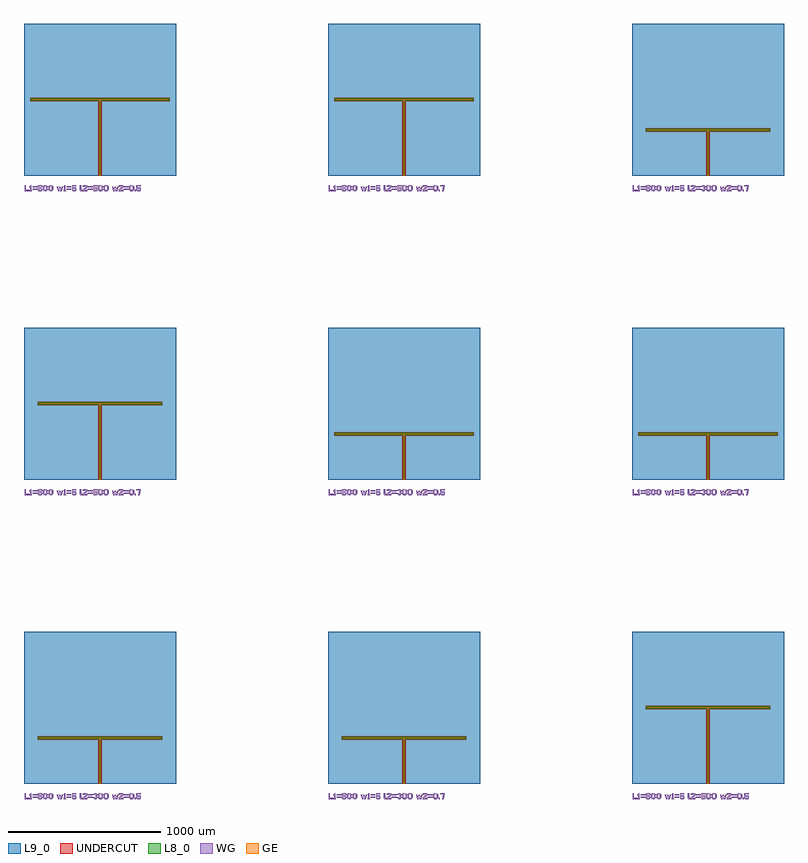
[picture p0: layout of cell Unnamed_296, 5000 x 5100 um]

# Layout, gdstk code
import gdstk
lib = gdstk.Library(unit=1e-6, precision=1e-09)
def R(c, l, rs):  # rectangles x0, y0, x1, y1
    for r in rs: c.add(gdstk.rectangle(r[:2], r[2:], *l))
def P(c, l, *ps):  # polygons
    for p in ps: c.add(gdstk.Polygon(p, *l))
WG = (1, 0)
GE = (5, 0)
UNDERCUT = (6, 0)
L8_0 = (8, 0)
L9_0 = (9, 0)

text_tl1900_w15_l2500_w_ = lib.new_cell('text_TL1900_w15_l2500_w_924e79f2')
R(text_tl1900_w15_l2500_w_, WG, [(728,0,736,8), (56,8,88,16), (280,8,312,16), (420,8,452,16), (656,8,688,16), (56,24,88,32), (280,24,312,32), (420,24,452,32), (656,24,688,32)])
P(text_tl1900_w15_l2500_w_, WG, [(752,0),(758.4,32),(740,32),(740,40),(768,40),(760,0)],
  [(372,0),(368,4),(368,40),(376,40),(376,8),(384,8),(384,0)],
  [(320,0),(316,4),(316,12),(324,12),(324,8),(336,8),(336,16),(320,16),(316,20),(316,40),(344,40),(344,32),(324,32),(324,24),(340,24),(344,20),(344,4),(340,0)],
  [(460,0),(456,4),(456,12),(464,12),(464,8),(476,8),(476,16),(460,16),(456,20),(456,40),(484,40),(484,32),(464,32),(464,24),(480,24),(484,20),(484,4),(480,0)],
  [(4,0),(4,40),(12,40),(12,8),(32,8),(32,0)],
  [(224,0),(216,28),(224,28),(228,14),(232,28),(240,28),(244,14),(248,28),(256,28),(248,0),(240,0),(236,14),(232,0)],
  [(588,0),(580,28),(588,28),(592,14),(596,28),(604,28),(608,14),(612,28),(620,28),(612,0),(604,0),(600,14),(596,0)],
  [(138.8,0),(140.8,8),(144,8),(148,12),(148,28),(144,32),(146,40),(148,40),(156,32),(156,8),(148,0)],
  [(174.8,0),(176.8,8),(180,8),(184,12),(184,28),(180,32),(182,40),(184,40),(192,32),(192,8),(184,0)],
  [(502.8,0),(504.8,8),(508,8),(512,12),(512,28),(508,32),(510,40),(512,40),(520,32),(520,8),(512,0)],
  [(538.8,0),(540.8,8),(544,8),(548,12),(548,28),(544,32),(546,40),(548,40),(556,32),(556,8),(548,0)],
  [(706.8,0),(708.8,8),(712,8),(716,12),(716,28),(712,32),(714,40),(716,40),(724,32),(724,8),(716,0)],
  [(132,0),(124,8),(124,32),(132,40),(141.2,40),(139.2,32),(136,32),(132,28),(132,12),(136,8),(134,0)],
  [(168,0),(160,8),(160,32),(168,40),(177.2,40),(175.2,32),(172,32),(168,28),(168,12),(172,8),(170,0)],
  [(496,0),(488,8),(488,32),(496,40),(505.2,40),(503.2,32),(500,32),(496,28),(496,12),(500,8),(498,0)],
  [(532,0),(524,8),(524,32),(532,40),(541.2,40),(539.2,32),(536,32),(532,28),(532,12),(536,8),(534,0)],
  [(700,0),(692,8),(692,32),(700,40),(709.2,40),(707.2,32),(704,32),(700,28),(700,12),(704,8),(702,0)],
  [(96,0),(92,4),(92,12),(100,12),(100,8),(112,8),(112,16),(96,16),(92,20),(92,36),(96,40),(104,40),(104,32),(100,32),(100,24),(112,24),(112,32),(108,32),(108,40),(116,40),(120,36),(120,4),(116,0)],
  [(36,0),(36,8),(40,8),(40,24),(36,24),(36,32),(44,40),(48,40),(48,8),(52,8),(52,0)],
  [(260,0),(260,8),(264,8),(264,24),(260,24),(260,32),(268,40),(272,40),(272,8),(276,8),(276,0)],
  [(388,0),(388,8),(408,28),(408,32),(396,32),(396,28),(388,28),(388,36),(392,40),(412,40),(416,36),(416,24),(400,8),(416,8),(416,0)],
  [(624,0),(624,8),(644,28),(644,32),(632,32),(632,28),(624,28),(624,36),(628,40),(648,40),(652,36),(652,24),(636,8),(652,8),(652,0)])

rectangle_s920_25_l6_0__ = lib.new_cell('rectangle_S920_25_L6_0__c2643c97')
R(rectangle_s920_25_l6_0__, UNDERCUT, [(0,0,920,25)])

rectangle_s0p7_500_l5_0_ = lib.new_cell('rectangle_S0p7_500_L5_0_5f5ccab6')
R(rectangle_s0p7_500_l5_0_, GE, [(0,0,0.7,500)])

rectangle_s20p7_490_l6__ = lib.new_cell('rectangle_S20p7_490_L6__c76dff1f')
R(rectangle_s20p7_490_l6__, UNDERCUT, [(0,0,20.7,490)])

rectangle_s900_5_l5_0_c_ = lib.new_cell('rectangle_S900_5_L5_0_C_e98a737c')
R(rectangle_s900_5_l5_0_c_, GE, [(0,0,900,5)])

rectangle_s910_15_l8_0__ = lib.new_cell('rectangle_S910_15_L8_0__1d112a65')
R(rectangle_s910_15_l8_0__, L8_0, [(0,0,910,15)])

rectangle_s10p7_495_l8__ = lib.new_cell('rectangle_S10p7_495_L8__2b4584b7')
R(rectangle_s10p7_495_l8__, L8_0, [(0,0,10.7,495)])

unnamed_294 = lib.new_cell('Unnamed_294')
unnamed_294.add(gdstk.Reference(rectangle_s920_25_l6_0__, (-460,490)))
unnamed_294.add(gdstk.Reference(rectangle_s0p7_500_l5_0_, (-0.35,0)))
unnamed_294.add(gdstk.Reference(rectangle_s20p7_490_l6__, (-10.35,0)))
unnamed_294.add(gdstk.Reference(rectangle_s900_5_l5_0_c_, (-450,500)))
unnamed_294.add(gdstk.Reference(rectangle_s910_15_l8_0__, (-455,495)))
unnamed_294.add(gdstk.Reference(rectangle_s10p7_495_l8__, (-5.35,0)))

c_text_tl1900_w15_l2500_w_ = lib.new_cell('text_TL1900_w15_l2500_w_5df65d30')
R(c_text_tl1900_w15_l2500_w_, WG, [(728,0,736,8), (56,8,88,16), (280,8,312,16), (420,8,452,16), (656,8,688,16), (56,24,88,32), (280,24,312,32), (420,24,452,32), (656,24,688,32)])
P(c_text_tl1900_w15_l2500_w_, WG, [(372,0),(368,4),(368,40),(376,40),(376,8),(384,8),(384,0)],
  [(320,0),(316,4),(316,12),(324,12),(324,8),(336,8),(336,16),(320,16),(316,20),(316,40),(344,40),(344,32),(324,32),(324,24),(340,24),(344,20),(344,4),(340,0)],
  [(460,0),(456,4),(456,12),(464,12),(464,8),(476,8),(476,16),(460,16),(456,20),(456,40),(484,40),(484,32),(464,32),(464,24),(480,24),(484,20),(484,4),(480,0)],
  [(744,0),(740,4),(740,12),(748,12),(748,8),(760,8),(760,16),(744,16),(740,20),(740,40),(768,40),(768,32),(748,32),(748,24),(764,24),(768,20),(768,4),(764,0)],
  [(138.8,0),(140.8,8),(144,8),(148,12),(148,28),(144,32),(146,40),(148,40),(156,32),(156,8),(148,0)],
  [(174.8,0),(176.8,8),(180,8),(184,12),(184,28),(180,32),(182,40),(184,40),(192,32),(192,8),(184,0)],
  [(502.8,0),(504.8,8),(508,8),(512,12),(512,28),(508,32),(510,40),(512,40),(520,32),(520,8),(512,0)],
  [(538.8,0),(540.8,8),(544,8),(548,12),(548,28),(544,32),(546,40),(548,40),(556,32),(556,8),(548,0)],
  [(706.8,0),(708.8,8),(712,8),(716,12),(716,28),(712,32),(714,40),(716,40),(724,32),(724,8),(716,0)],
  [(132,0),(124,8),(124,32),(132,40),(141.2,40),(139.2,32),(136,32),(132,28),(132,12),(136,8),(134,0)],
  [(168,0),(160,8),(160,32),(168,40),(177.2,40),(175.2,32),(172,32),(168,28),(168,12),(172,8),(170,0)],
  [(496,0),(488,8),(488,32),(496,40),(505.2,40),(503.2,32),(500,32),(496,28),(496,12),(500,8),(498,0)],
  [(532,0),(524,8),(524,32),(532,40),(541.2,40),(539.2,32),(536,32),(532,28),(532,12),(536,8),(534,0)],
  [(700,0),(692,8),(692,32),(700,40),(709.2,40),(707.2,32),(704,32),(700,28),(700,12),(704,8),(702,0)],
  [(96,0),(92,4),(92,12),(100,12),(100,8),(112,8),(112,16),(96,16),(92,20),(92,36),(96,40),(104,40),(104,32),(100,32),(100,24),(112,24),(112,32),(108,32),(108,40),(116,40),(120,36),(120,4),(116,0)],
  [(224,0),(216,28),(224,28),(228,14),(232,28),(240,28),(244,14),(248,28),(256,28),(248,0),(240,0),(236,14),(232,0)],
  [(588,0),(580,28),(588,28),(592,14),(596,28),(604,28),(608,14),(612,28),(620,28),(612,0),(604,0),(600,14),(596,0)],
  [(36,0),(36,8),(40,8),(40,24),(36,24),(36,32),(44,40),(48,40),(48,8),(52,8),(52,0)],
  [(260,0),(260,8),(264,8),(264,24),(260,24),(260,32),(268,40),(272,40),(272,8),(276,8),(276,0)],
  [(388,0),(388,8),(408,28),(408,32),(396,32),(396,28),(388,28),(388,36),(392,40),(412,40),(416,36),(416,24),(400,8),(416,8),(416,0)],
  [(624,0),(624,8),(644,28),(644,32),(632,32),(632,28),(624,28),(624,36),(628,40),(648,40),(652,36),(652,24),(636,8),(652,8),(652,0)],
  [(4,0),(4,40),(12,40),(12,8),(32,8),(32,0)])

text_tl1900_w15_l2300_w_ = lib.new_cell('text_TL1900_w15_l2300_w_3a80fd20')
R(text_tl1900_w15_l2300_w_, WG, [(728,0,736,8), (56,8,88,16), (280,8,312,16), (420,8,452,16), (656,8,688,16), (56,24,88,32), (280,24,312,32), (420,24,452,32), (656,24,688,32)])
P(text_tl1900_w15_l2300_w_, WG, [(752,0),(758.4,32),(740,32),(740,40),(768,40),(760,0)],
  [(464,0),(456,8),(456,12),(464,12),(468,8),(472,8),(476,12),(472,16),(472,24),(476,28),(472,32),(468,32),(464,28),(456,28),(456,32),(464,40),(476,40),(484,32),(484,24),(480,20),(484,16),(484,8),(476,0)],
  [(372,0),(368,4),(368,40),(376,40),(376,8),(384,8),(384,0)],
  [(320,0),(316,4),(316,12),(324,12),(324,8),(336,8),(336,16),(320,16),(316,20),(316,40),(344,40),(344,32),(324,32),(324,24),(340,24),(344,20),(344,4),(340,0)],
  [(4,0),(4,40),(12,40),(12,8),(32,8),(32,0)],
  [(224,0),(216,28),(224,28),(228,14),(232,28),(240,28),(244,14),(248,28),(256,28),(248,0),(240,0),(236,14),(232,0)],
  [(588,0),(580,28),(588,28),(592,14),(596,28),(604,28),(608,14),(612,28),(620,28),(612,0),(604,0),(600,14),(596,0)],
  [(138.8,0),(140.8,8),(144,8),(148,12),(148,28),(144,32),(146,40),(148,40),(156,32),(156,8),(148,0)],
  [(174.8,0),(176.8,8),(180,8),(184,12),(184,28),(180,32),(182,40),(184,40),(192,32),(192,8),(184,0)],
  [(502.8,0),(504.8,8),(508,8),(512,12),(512,28),(508,32),(510,40),(512,40),(520,32),(520,8),(512,0)],
  [(538.8,0),(540.8,8),(544,8),(548,12),(548,28),(544,32),(546,40),(548,40),(556,32),(556,8),(548,0)],
  [(706.8,0),(708.8,8),(712,8),(716,12),(716,28),(712,32),(714,40),(716,40),(724,32),(724,8),(716,0)],
  [(132,0),(124,8),(124,32),(132,40),(141.2,40),(139.2,32),(136,32),(132,28),(132,12),(136,8),(134,0)],
  [(168,0),(160,8),(160,32),(168,40),(177.2,40),(175.2,32),(172,32),(168,28),(168,12),(172,8),(170,0)],
  [(496,0),(488,8),(488,32),(496,40),(505.2,40),(503.2,32),(500,32),(496,28),(496,12),(500,8),(498,0)],
  [(532,0),(524,8),(524,32),(532,40),(541.2,40),(539.2,32),(536,32),(532,28),(532,12),(536,8),(534,0)],
  [(700,0),(692,8),(692,32),(700,40),(709.2,40),(707.2,32),(704,32),(700,28),(700,12),(704,8),(702,0)],
  [(96,0),(92,4),(92,12),(100,12),(100,8),(112,8),(112,16),(96,16),(92,20),(92,36),(96,40),(104,40),(104,32),(100,32),(100,24),(112,24),(112,32),(108,32),(108,40),(116,40),(120,36),(120,4),(116,0)],
  [(36,0),(36,8),(40,8),(40,24),(36,24),(36,32),(44,40),(48,40),(48,8),(52,8),(52,0)],
  [(260,0),(260,8),(264,8),(264,24),(260,24),(260,32),(268,40),(272,40),(272,8),(276,8),(276,0)],
  [(388,0),(388,8),(408,28),(408,32),(396,32),(396,28),(388,28),(388,36),(392,40),(412,40),(416,36),(416,24),(400,8),(416,8),(416,0)],
  [(624,0),(624,8),(644,28),(644,32),(632,32),(632,28),(624,28),(624,36),(628,40),(648,40),(652,36),(652,24),(636,8),(652,8),(652,0)])

rectangle_s0p7_300_l5_0_ = lib.new_cell('rectangle_S0p7_300_L5_0_106584ea')
R(rectangle_s0p7_300_l5_0_, GE, [(0,0,0.7,300)])

rectangle_s20p7_290_l6__ = lib.new_cell('rectangle_S20p7_290_L6__7863e632')
R(rectangle_s20p7_290_l6__, UNDERCUT, [(0,0,20.7,290)])

rectangle_s10p7_295_l8__ = lib.new_cell('rectangle_S10p7_295_L8__5a437f7c')
R(rectangle_s10p7_295_l8__, L8_0, [(0,0,10.7,295)])

unnamed_292 = lib.new_cell('Unnamed_292')
unnamed_292.add(gdstk.Reference(rectangle_s910_15_l8_0__, (-455,295)))
unnamed_292.add(gdstk.Reference(rectangle_s0p7_300_l5_0_, (-0.35,0)))
unnamed_292.add(gdstk.Reference(rectangle_s20p7_290_l6__, (-10.35,0)))
unnamed_292.add(gdstk.Reference(rectangle_s900_5_l5_0_c_, (-450,300)))
unnamed_292.add(gdstk.Reference(rectangle_s10p7_295_l8__, (-5.35,0)))
unnamed_292.add(gdstk.Reference(rectangle_s920_25_l6_0__, (-460,290)))

text_tl1800_w15_l2500_w_ = lib.new_cell('text_TL1800_w15_l2500_w_88558957')
R(text_tl1800_w15_l2500_w_, WG, [(728,0,736,8), (56,8,88,16), (280,8,312,16), (420,8,452,16), (656,8,688,16), (56,24,88,32), (280,24,312,32), (420,24,452,32), (656,24,688,32)])
P(text_tl1800_w15_l2500_w_, WG, [(372,0),(368,4),(368,40),(376,40),(376,8),(384,8),(384,0)],
  [(320,0),(316,4),(316,12),(324,12),(324,8),(336,8),(336,16),(320,16),(316,20),(316,40),(344,40),(344,32),(324,32),(324,24),(340,24),(344,20),(344,4),(340,0)],
  [(460,0),(456,4),(456,12),(464,12),(464,8),(476,8),(476,16),(460,16),(456,20),(456,40),(484,40),(484,32),(464,32),(464,24),(480,24),(484,20),(484,4),(480,0)],
  [(744,0),(740,4),(740,12),(748,12),(748,8),(760,8),(760,16),(744,16),(740,20),(740,40),(768,40),(768,32),(748,32),(748,24),(764,24),(768,20),(768,4),(764,0)],
  [(138.8,0),(140.8,8),(144,8),(148,12),(148,28),(144,32),(146,40),(148,40),(156,32),(156,8),(148,0)],
  [(174.8,0),(176.8,8),(180,8),(184,12),(184,28),(180,32),(182,40),(184,40),(192,32),(192,8),(184,0)],
  [(502.8,0),(504.8,8),(508,8),(512,12),(512,28),(508,32),(510,40),(512,40),(520,32),(520,8),(512,0)],
  [(538.8,0),(540.8,8),(544,8),(548,12),(548,28),(544,32),(546,40),(548,40),(556,32),(556,8),(548,0)],
  [(706.8,0),(708.8,8),(712,8),(716,12),(716,28),(712,32),(714,40),(716,40),(724,32),(724,8),(716,0)],
  [(132,0),(124,8),(124,32),(132,40),(141.2,40),(139.2,32),(136,32),(132,28),(132,12),(136,8),(134,0)],
  [(168,0),(160,8),(160,32),(168,40),(177.2,40),(175.2,32),(172,32),(168,28),(168,12),(172,8),(170,0)],
  [(496,0),(488,8),(488,32),(496,40),(505.2,40),(503.2,32),(500,32),(496,28),(496,12),(500,8),(498,0)],
  [(532,0),(524,8),(524,32),(532,40),(541.2,40),(539.2,32),(536,32),(532,28),(532,12),(536,8),(534,0)],
  [(700,0),(692,8),(692,32),(700,40),(709.2,40),(707.2,32),(704,32),(700,28),(700,12),(704,8),(702,0)],
  [(96,0),(92,4),(92,16),(96,20),(92,24),(92,36),(96,40),(104,40),(104,32),(100,32),(100,24),(112,24),(112,32),(108,32),(108,40),(116,40),(120,36),(120,24),(116,20),(120,16),(120,4),(116,0),(108,0),(108,8),(112,8),(112,16),(100,16),(100,8),(104,8),(104,0)],
  [(224,0),(216,28),(224,28),(228,14),(232,28),(240,28),(244,14),(248,28),(256,28),(248,0),(240,0),(236,14),(232,0)],
  [(588,0),(580,28),(588,28),(592,14),(596,28),(604,28),(608,14),(612,28),(620,28),(612,0),(604,0),(600,14),(596,0)],
  [(36,0),(36,8),(40,8),(40,24),(36,24),(36,32),(44,40),(48,40),(48,8),(52,8),(52,0)],
  [(260,0),(260,8),(264,8),(264,24),(260,24),(260,32),(268,40),(272,40),(272,8),(276,8),(276,0)],
  [(388,0),(388,8),(408,28),(408,32),(396,32),(396,28),(388,28),(388,36),(392,40),(412,40),(416,36),(416,24),(400,8),(416,8),(416,0)],
  [(624,0),(624,8),(644,28),(644,32),(632,32),(632,28),(624,28),(624,36),(628,40),(648,40),(652,36),(652,24),(636,8),(652,8),(652,0)],
  [(4,0),(4,40),(12,40),(12,8),(32,8),(32,0)])

rectangle_s10p5_295_l8__ = lib.new_cell('rectangle_S10p5_295_L8__ffa8a64a')
R(rectangle_s10p5_295_l8__, L8_0, [(0,0,10.5,295)])

rectangle_s0p5_300_l5_0_ = lib.new_cell('rectangle_S0p5_300_L5_0_bcf38b65')
R(rectangle_s0p5_300_l5_0_, GE, [(0,0,0.5,300)])

rectangle_s20p5_290_l6__ = lib.new_cell('rectangle_S20p5_290_L6__af2a2720')
R(rectangle_s20p5_290_l6__, UNDERCUT, [(0,0,20.5,290)])

unnamed_291 = lib.new_cell('Unnamed_291')
unnamed_291.add(gdstk.Reference(rectangle_s910_15_l8_0__, (-455,295)))
unnamed_291.add(gdstk.Reference(rectangle_s10p5_295_l8__, (-5.25,0)))
unnamed_291.add(gdstk.Reference(rectangle_s920_25_l6_0__, (-460,290)))
unnamed_291.add(gdstk.Reference(rectangle_s0p5_300_l5_0_, (-0.25,0)))
unnamed_291.add(gdstk.Reference(rectangle_s900_5_l5_0_c_, (-450,300)))
unnamed_291.add(gdstk.Reference(rectangle_s20p5_290_l6__, (-10.25,0)))

rectangle_s10p5_495_l8__ = lib.new_cell('rectangle_S10p5_495_L8__a2ef8117')
R(rectangle_s10p5_495_l8__, L8_0, [(0,0,10.5,495)])

rectangle_s20p5_490_l6__ = lib.new_cell('rectangle_S20p5_490_L6__59c9b7bc')
R(rectangle_s20p5_490_l6__, UNDERCUT, [(0,0,20.5,490)])

rectangle_s0p5_500_l5_0_ = lib.new_cell('rectangle_S0p5_500_L5_0_ba7ba93c')
R(rectangle_s0p5_500_l5_0_, GE, [(0,0,0.5,500)])

unnamed_293 = lib.new_cell('Unnamed_293')
unnamed_293.add(gdstk.Reference(rectangle_s910_15_l8_0__, (-455,495)))
unnamed_293.add(gdstk.Reference(rectangle_s10p5_495_l8__, (-5.25,0)))
unnamed_293.add(gdstk.Reference(rectangle_s920_25_l6_0__, (-460,490)))
unnamed_293.add(gdstk.Reference(rectangle_s20p5_490_l6__, (-10.25,0)))
unnamed_293.add(gdstk.Reference(rectangle_s900_5_l5_0_c_, (-450,500)))
unnamed_293.add(gdstk.Reference(rectangle_s0p5_500_l5_0_, (-0.25,0)))

c_text_tl1800_w15_l2500_w_ = lib.new_cell('text_TL1800_w15_l2500_w_d564201c')
R(c_text_tl1800_w15_l2500_w_, WG, [(728,0,736,8), (56,8,88,16), (280,8,312,16), (420,8,452,16), (656,8,688,16), (56,24,88,32), (280,24,312,32), (420,24,452,32), (656,24,688,32)])
P(c_text_tl1800_w15_l2500_w_, WG, [(752,0),(758.4,32),(740,32),(740,40),(768,40),(760,0)],
  [(372,0),(368,4),(368,40),(376,40),(376,8),(384,8),(384,0)],
  [(320,0),(316,4),(316,12),(324,12),(324,8),(336,8),(336,16),(320,16),(316,20),(316,40),(344,40),(344,32),(324,32),(324,24),(340,24),(344,20),(344,4),(340,0)],
  [(460,0),(456,4),(456,12),(464,12),(464,8),(476,8),(476,16),(460,16),(456,20),(456,40),(484,40),(484,32),(464,32),(464,24),(480,24),(484,20),(484,4),(480,0)],
  [(4,0),(4,40),(12,40),(12,8),(32,8),(32,0)],
  [(224,0),(216,28),(224,28),(228,14),(232,28),(240,28),(244,14),(248,28),(256,28),(248,0),(240,0),(236,14),(232,0)],
  [(588,0),(580,28),(588,28),(592,14),(596,28),(604,28),(608,14),(612,28),(620,28),(612,0),(604,0),(600,14),(596,0)],
  [(138.8,0),(140.8,8),(144,8),(148,12),(148,28),(144,32),(146,40),(148,40),(156,32),(156,8),(148,0)],
  [(174.8,0),(176.8,8),(180,8),(184,12),(184,28),(180,32),(182,40),(184,40),(192,32),(192,8),(184,0)],
  [(502.8,0),(504.8,8),(508,8),(512,12),(512,28),(508,32),(510,40),(512,40),(520,32),(520,8),(512,0)],
  [(538.8,0),(540.8,8),(544,8),(548,12),(548,28),(544,32),(546,40),(548,40),(556,32),(556,8),(548,0)],
  [(706.8,0),(708.8,8),(712,8),(716,12),(716,28),(712,32),(714,40),(716,40),(724,32),(724,8),(716,0)],
  [(132,0),(124,8),(124,32),(132,40),(141.2,40),(139.2,32),(136,32),(132,28),(132,12),(136,8),(134,0)],
  [(168,0),(160,8),(160,32),(168,40),(177.2,40),(175.2,32),(172,32),(168,28),(168,12),(172,8),(170,0)],
  [(496,0),(488,8),(488,32),(496,40),(505.2,40),(503.2,32),(500,32),(496,28),(496,12),(500,8),(498,0)],
  [(532,0),(524,8),(524,32),(532,40),(541.2,40),(539.2,32),(536,32),(532,28),(532,12),(536,8),(534,0)],
  [(700,0),(692,8),(692,32),(700,40),(709.2,40),(707.2,32),(704,32),(700,28),(700,12),(704,8),(702,0)],
  [(96,0),(92,4),(92,16),(96,20),(92,24),(92,36),(96,40),(104,40),(104,32),(100,32),(100,24),(112,24),(112,32),(108,32),(108,40),(116,40),(120,36),(120,24),(116,20),(120,16),(120,4),(116,0),(108,0),(108,8),(112,8),(112,16),(100,16),(100,8),(104,8),(104,0)],
  [(36,0),(36,8),(40,8),(40,24),(36,24),(36,32),(44,40),(48,40),(48,8),(52,8),(52,0)],
  [(260,0),(260,8),(264,8),(264,24),(260,24),(260,32),(268,40),(272,40),(272,8),(276,8),(276,0)],
  [(388,0),(388,8),(408,28),(408,32),(396,32),(396,28),(388,28),(388,36),(392,40),(412,40),(416,36),(416,24),(400,8),(416,8),(416,0)],
  [(624,0),(624,8),(644,28),(644,32),(632,32),(632,28),(624,28),(624,36),(628,40),(648,40),(652,36),(652,24),(636,8),(652,8),(652,0)])

rectangle_s810_15_l8_0__ = lib.new_cell('rectangle_S810_15_L8_0__172e18ab')
R(rectangle_s810_15_l8_0__, L8_0, [(0,0,810,15)])

rectangle_s800_5_l5_0_c_ = lib.new_cell('rectangle_S800_5_L5_0_C_a89d6687')
R(rectangle_s800_5_l5_0_c_, GE, [(0,0,800,5)])

rectangle_s820_25_l6_0__ = lib.new_cell('rectangle_S820_25_L6_0__958177c4')
R(rectangle_s820_25_l6_0__, UNDERCUT, [(0,0,820,25)])

unnamed_290 = lib.new_cell('Unnamed_290')
unnamed_290.add(gdstk.Reference(rectangle_s810_15_l8_0__, (-405,495)))
unnamed_290.add(gdstk.Reference(rectangle_s800_5_l5_0_c_, (-400,500)))
unnamed_290.add(gdstk.Reference(rectangle_s820_25_l6_0__, (-410,490)))
unnamed_290.add(gdstk.Reference(rectangle_s0p7_500_l5_0_, (-0.35,0)))
unnamed_290.add(gdstk.Reference(rectangle_s20p7_490_l6__, (-10.35,0)))
unnamed_290.add(gdstk.Reference(rectangle_s10p7_495_l8__, (-5.35,0)))

rectangle_s1000_1000_l9_ = lib.new_cell('rectangle_S1000_1000_L9_afc64d79')
R(rectangle_s1000_1000_l9_, L9_0, [(0,0,1000,1000)])

unnamed_289 = lib.new_cell('Unnamed_289')
unnamed_289.add(gdstk.Reference(rectangle_s810_15_l8_0__, (-405,495)))
unnamed_289.add(gdstk.Reference(rectangle_s10p5_495_l8__, (-5.25,0)))
unnamed_289.add(gdstk.Reference(rectangle_s800_5_l5_0_c_, (-400,500)))
unnamed_289.add(gdstk.Reference(rectangle_s820_25_l6_0__, (-410,490)))
unnamed_289.add(gdstk.Reference(rectangle_s20p5_490_l6__, (-10.25,0)))
unnamed_289.add(gdstk.Reference(rectangle_s0p5_500_l5_0_, (-0.25,0)))

text_tl1800_w15_l2300_w_ = lib.new_cell('text_TL1800_w15_l2300_w_28ce9629')
R(text_tl1800_w15_l2300_w_, WG, [(728,0,736,8), (56,8,88,16), (280,8,312,16), (420,8,452,16), (656,8,688,16), (56,24,88,32), (280,24,312,32), (420,24,452,32), (656,24,688,32)])
P(text_tl1800_w15_l2300_w_, WG, [(752,0),(758.4,32),(740,32),(740,40),(768,40),(760,0)],
  [(464,0),(456,8),(456,12),(464,12),(468,8),(472,8),(476,12),(472,16),(472,24),(476,28),(472,32),(468,32),(464,28),(456,28),(456,32),(464,40),(476,40),(484,32),(484,24),(480,20),(484,16),(484,8),(476,0)],
  [(372,0),(368,4),(368,40),(376,40),(376,8),(384,8),(384,0)],
  [(320,0),(316,4),(316,12),(324,12),(324,8),(336,8),(336,16),(320,16),(316,20),(316,40),(344,40),(344,32),(324,32),(324,24),(340,24),(344,20),(344,4),(340,0)],
  [(4,0),(4,40),(12,40),(12,8),(32,8),(32,0)],
  [(224,0),(216,28),(224,28),(228,14),(232,28),(240,28),(244,14),(248,28),(256,28),(248,0),(240,0),(236,14),(232,0)],
  [(588,0),(580,28),(588,28),(592,14),(596,28),(604,28),(608,14),(612,28),(620,28),(612,0),(604,0),(600,14),(596,0)],
  [(138.8,0),(140.8,8),(144,8),(148,12),(148,28),(144,32),(146,40),(148,40),(156,32),(156,8),(148,0)],
  [(174.8,0),(176.8,8),(180,8),(184,12),(184,28),(180,32),(182,40),(184,40),(192,32),(192,8),(184,0)],
  [(502.8,0),(504.8,8),(508,8),(512,12),(512,28),(508,32),(510,40),(512,40),(520,32),(520,8),(512,0)],
  [(538.8,0),(540.8,8),(544,8),(548,12),(548,28),(544,32),(546,40),(548,40),(556,32),(556,8),(548,0)],
  [(706.8,0),(708.8,8),(712,8),(716,12),(716,28),(712,32),(714,40),(716,40),(724,32),(724,8),(716,0)],
  [(132,0),(124,8),(124,32),(132,40),(141.2,40),(139.2,32),(136,32),(132,28),(132,12),(136,8),(134,0)],
  [(168,0),(160,8),(160,32),(168,40),(177.2,40),(175.2,32),(172,32),(168,28),(168,12),(172,8),(170,0)],
  [(496,0),(488,8),(488,32),(496,40),(505.2,40),(503.2,32),(500,32),(496,28),(496,12),(500,8),(498,0)],
  [(532,0),(524,8),(524,32),(532,40),(541.2,40),(539.2,32),(536,32),(532,28),(532,12),(536,8),(534,0)],
  [(700,0),(692,8),(692,32),(700,40),(709.2,40),(707.2,32),(704,32),(700,28),(700,12),(704,8),(702,0)],
  [(96,0),(92,4),(92,16),(96,20),(92,24),(92,36),(96,40),(104,40),(104,32),(100,32),(100,24),(112,24),(112,32),(108,32),(108,40),(116,40),(120,36),(120,24),(116,20),(120,16),(120,4),(116,0),(108,0),(108,8),(112,8),(112,16),(100,16),(100,8),(104,8),(104,0)],
  [(36,0),(36,8),(40,8),(40,24),(36,24),(36,32),(44,40),(48,40),(48,8),(52,8),(52,0)],
  [(260,0),(260,8),(264,8),(264,24),(260,24),(260,32),(268,40),(272,40),(272,8),(276,8),(276,0)],
  [(388,0),(388,8),(408,28),(408,32),(396,32),(396,28),(388,28),(388,36),(392,40),(412,40),(416,36),(416,24),(400,8),(416,8),(416,0)],
  [(624,0),(624,8),(644,28),(644,32),(632,32),(632,28),(624,28),(624,36),(628,40),(648,40),(652,36),(652,24),(636,8),(652,8),(652,0)])

unnamed_288 = lib.new_cell('Unnamed_288')
unnamed_288.add(gdstk.Reference(rectangle_s0p7_300_l5_0_, (-0.35,0)))
unnamed_288.add(gdstk.Reference(rectangle_s800_5_l5_0_c_, (-400,300)))
unnamed_288.add(gdstk.Reference(rectangle_s820_25_l6_0__, (-410,290)))
unnamed_288.add(gdstk.Reference(rectangle_s20p7_290_l6__, (-10.35,0)))
unnamed_288.add(gdstk.Reference(rectangle_s810_15_l8_0__, (-405,295)))
unnamed_288.add(gdstk.Reference(rectangle_s10p7_295_l8__, (-5.35,0)))

c_text_tl1800_w15_l2300_w_ = lib.new_cell('text_TL1800_w15_l2300_w_6238760a')
R(c_text_tl1800_w15_l2300_w_, WG, [(728,0,736,8), (56,8,88,16), (280,8,312,16), (420,8,452,16), (656,8,688,16), (56,24,88,32), (280,24,312,32), (420,24,452,32), (656,24,688,32)])
P(c_text_tl1800_w15_l2300_w_, WG, [(464,0),(456,8),(456,12),(464,12),(468,8),(472,8),(476,12),(472,16),(472,24),(476,28),(472,32),(468,32),(464,28),(456,28),(456,32),(464,40),(476,40),(484,32),(484,24),(480,20),(484,16),(484,8),(476,0)],
  [(372,0),(368,4),(368,40),(376,40),(376,8),(384,8),(384,0)],
  [(320,0),(316,4),(316,12),(324,12),(324,8),(336,8),(336,16),(320,16),(316,20),(316,40),(344,40),(344,32),(324,32),(324,24),(340,24),(344,20),(344,4),(340,0)],
  [(744,0),(740,4),(740,12),(748,12),(748,8),(760,8),(760,16),(744,16),(740,20),(740,40),(768,40),(768,32),(748,32),(748,24),(764,24),(768,20),(768,4),(764,0)],
  [(4,0),(4,40),(12,40),(12,8),(32,8),(32,0)],
  [(224,0),(216,28),(224,28),(228,14),(232,28),(240,28),(244,14),(248,28),(256,28),(248,0),(240,0),(236,14),(232,0)],
  [(588,0),(580,28),(588,28),(592,14),(596,28),(604,28),(608,14),(612,28),(620,28),(612,0),(604,0),(600,14),(596,0)],
  [(138.8,0),(140.8,8),(144,8),(148,12),(148,28),(144,32),(146,40),(148,40),(156,32),(156,8),(148,0)],
  [(174.8,0),(176.8,8),(180,8),(184,12),(184,28),(180,32),(182,40),(184,40),(192,32),(192,8),(184,0)],
  [(502.8,0),(504.8,8),(508,8),(512,12),(512,28),(508,32),(510,40),(512,40),(520,32),(520,8),(512,0)],
  [(538.8,0),(540.8,8),(544,8),(548,12),(548,28),(544,32),(546,40),(548,40),(556,32),(556,8),(548,0)],
  [(706.8,0),(708.8,8),(712,8),(716,12),(716,28),(712,32),(714,40),(716,40),(724,32),(724,8),(716,0)],
  [(132,0),(124,8),(124,32),(132,40),(141.2,40),(139.2,32),(136,32),(132,28),(132,12),(136,8),(134,0)],
  [(168,0),(160,8),(160,32),(168,40),(177.2,40),(175.2,32),(172,32),(168,28),(168,12),(172,8),(170,0)],
  [(496,0),(488,8),(488,32),(496,40),(505.2,40),(503.2,32),(500,32),(496,28),(496,12),(500,8),(498,0)],
  [(532,0),(524,8),(524,32),(532,40),(541.2,40),(539.2,32),(536,32),(532,28),(532,12),(536,8),(534,0)],
  [(700,0),(692,8),(692,32),(700,40),(709.2,40),(707.2,32),(704,32),(700,28),(700,12),(704,8),(702,0)],
  [(96,0),(92,4),(92,16),(96,20),(92,24),(92,36),(96,40),(104,40),(104,32),(100,32),(100,24),(112,24),(112,32),(108,32),(108,40),(116,40),(120,36),(120,24),(116,20),(120,16),(120,4),(116,0),(108,0),(108,8),(112,8),(112,16),(100,16),(100,8),(104,8),(104,0)],
  [(36,0),(36,8),(40,8),(40,24),(36,24),(36,32),(44,40),(48,40),(48,8),(52,8),(52,0)],
  [(260,0),(260,8),(264,8),(264,24),(260,24),(260,32),(268,40),(272,40),(272,8),(276,8),(276,0)],
  [(388,0),(388,8),(408,28),(408,32),(396,32),(396,28),(388,28),(388,36),(392,40),(412,40),(416,36),(416,24),(400,8),(416,8),(416,0)],
  [(624,0),(624,8),(644,28),(644,32),(632,32),(632,28),(624,28),(624,36),(628,40),(648,40),(652,36),(652,24),(636,8),(652,8),(652,0)])

unnamed_287 = lib.new_cell('Unnamed_287')
unnamed_287.add(gdstk.Reference(rectangle_s810_15_l8_0__, (-405,295)))
unnamed_287.add(gdstk.Reference(rectangle_s10p5_295_l8__, (-5.25,0)))
unnamed_287.add(gdstk.Reference(rectangle_s800_5_l5_0_c_, (-400,300)))
unnamed_287.add(gdstk.Reference(rectangle_s820_25_l6_0__, (-410,290)))
unnamed_287.add(gdstk.Reference(rectangle_s20p5_290_l6__, (-10.25,0)))
unnamed_287.add(gdstk.Reference(rectangle_s0p5_300_l5_0_, (-0.25,0)))

c_text_tl1900_w15_l2300_w_ = lib.new_cell('text_TL1900_w15_l2300_w_2759acd3')
R(c_text_tl1900_w15_l2300_w_, WG, [(728,0,736,8), (56,8,88,16), (280,8,312,16), (420,8,452,16), (656,8,688,16), (56,24,88,32), (280,24,312,32), (420,24,452,32), (656,24,688,32)])
P(c_text_tl1900_w15_l2300_w_, WG, [(464,0),(456,8),(456,12),(464,12),(468,8),(472,8),(476,12),(472,16),(472,24),(476,28),(472,32),(468,32),(464,28),(456,28),(456,32),(464,40),(476,40),(484,32),(484,24),(480,20),(484,16),(484,8),(476,0)],
  [(372,0),(368,4),(368,40),(376,40),(376,8),(384,8),(384,0)],
  [(320,0),(316,4),(316,12),(324,12),(324,8),(336,8),(336,16),(320,16),(316,20),(316,40),(344,40),(344,32),(324,32),(324,24),(340,24),(344,20),(344,4),(340,0)],
  [(744,0),(740,4),(740,12),(748,12),(748,8),(760,8),(760,16),(744,16),(740,20),(740,40),(768,40),(768,32),(748,32),(748,24),(764,24),(768,20),(768,4),(764,0)],
  [(4,0),(4,40),(12,40),(12,8),(32,8),(32,0)],
  [(224,0),(216,28),(224,28),(228,14),(232,28),(240,28),(244,14),(248,28),(256,28),(248,0),(240,0),(236,14),(232,0)],
  [(588,0),(580,28),(588,28),(592,14),(596,28),(604,28),(608,14),(612,28),(620,28),(612,0),(604,0),(600,14),(596,0)],
  [(138.8,0),(140.8,8),(144,8),(148,12),(148,28),(144,32),(146,40),(148,40),(156,32),(156,8),(148,0)],
  [(174.8,0),(176.8,8),(180,8),(184,12),(184,28),(180,32),(182,40),(184,40),(192,32),(192,8),(184,0)],
  [(502.8,0),(504.8,8),(508,8),(512,12),(512,28),(508,32),(510,40),(512,40),(520,32),(520,8),(512,0)],
  [(538.8,0),(540.8,8),(544,8),(548,12),(548,28),(544,32),(546,40),(548,40),(556,32),(556,8),(548,0)],
  [(706.8,0),(708.8,8),(712,8),(716,12),(716,28),(712,32),(714,40),(716,40),(724,32),(724,8),(716,0)],
  [(132,0),(124,8),(124,32),(132,40),(141.2,40),(139.2,32),(136,32),(132,28),(132,12),(136,8),(134,0)],
  [(168,0),(160,8),(160,32),(168,40),(177.2,40),(175.2,32),(172,32),(168,28),(168,12),(172,8),(170,0)],
  [(496,0),(488,8),(488,32),(496,40),(505.2,40),(503.2,32),(500,32),(496,28),(496,12),(500,8),(498,0)],
  [(532,0),(524,8),(524,32),(532,40),(541.2,40),(539.2,32),(536,32),(532,28),(532,12),(536,8),(534,0)],
  [(700,0),(692,8),(692,32),(700,40),(709.2,40),(707.2,32),(704,32),(700,28),(700,12),(704,8),(702,0)],
  [(96,0),(92,4),(92,12),(100,12),(100,8),(112,8),(112,16),(96,16),(92,20),(92,36),(96,40),(104,40),(104,32),(100,32),(100,24),(112,24),(112,32),(108,32),(108,40),(116,40),(120,36),(120,4),(116,0)],
  [(36,0),(36,8),(40,8),(40,24),(36,24),(36,32),(44,40),(48,40),(48,8),(52,8),(52,0)],
  [(260,0),(260,8),(264,8),(264,24),(260,24),(260,32),(268,40),(272,40),(272,8),(276,8),(276,0)],
  [(388,0),(388,8),(408,28),(408,32),(396,32),(396,28),(388,28),(388,36),(392,40),(412,40),(416,36),(416,24),(400,8),(416,8),(416,0)],
  [(624,0),(624,8),(644,28),(644,32),(632,32),(632,28),(624,28),(624,36),(628,40),(648,40),(652,36),(652,24),(636,8),(652,8),(652,0)])

unnamed_296 = lib.new_cell('Unnamed_296')
unnamed_296.add(gdstk.Reference(text_tl1900_w15_l2500_w_, (2000,3900)))
unnamed_296.add(gdstk.Reference(unnamed_294, (2500,4000)))
unnamed_296.add(gdstk.Reference(c_text_tl1900_w15_l2500_w_, (0,3900)))
unnamed_296.add(gdstk.Reference(text_tl1900_w15_l2300_w_, (4000,1900)))
unnamed_296.add(gdstk.Reference(unnamed_292, (4500,2000)))
unnamed_296.add(gdstk.Reference(text_tl1800_w15_l2500_w_, (4000,-100)))
unnamed_296.add(gdstk.Reference(unnamed_291, (2500,2000)))
unnamed_296.add(gdstk.Reference(unnamed_293, (500,4000)))
unnamed_296.add(gdstk.Reference(c_text_tl1800_w15_l2500_w_, (0,1900)))
unnamed_296.add(gdstk.Reference(unnamed_290, (500,2000)))
unnamed_296.add(gdstk.Reference(rectangle_s1000_1000_l9_, (0,0)))
unnamed_296.add(gdstk.Reference(rectangle_s1000_1000_l9_, (2000,0)))
unnamed_296.add(gdstk.Reference(rectangle_s1000_1000_l9_, (4000,0)))
unnamed_296.add(gdstk.Reference(rectangle_s1000_1000_l9_, (0,2000)))
unnamed_296.add(gdstk.Reference(rectangle_s1000_1000_l9_, (2000,2000)))
unnamed_296.add(gdstk.Reference(rectangle_s1000_1000_l9_, (4000,2000)))
unnamed_296.add(gdstk.Reference(rectangle_s1000_1000_l9_, (0,4000)))
unnamed_296.add(gdstk.Reference(rectangle_s1000_1000_l9_, (2000,4000)))
unnamed_296.add(gdstk.Reference(rectangle_s1000_1000_l9_, (4000,4000)))
unnamed_296.add(gdstk.Reference(unnamed_289, (4500,0)))
unnamed_296.add(gdstk.Reference(text_tl1800_w15_l2300_w_, (2000,-100)))
unnamed_296.add(gdstk.Reference(text_tl1800_w15_l2300_w_, (4000,3900)))
unnamed_296.add(gdstk.Reference(unnamed_288, (2500,0)))
unnamed_296.add(gdstk.Reference(unnamed_288, (4500,4000)))
unnamed_296.add(gdstk.Reference(c_text_tl1800_w15_l2300_w_, (0,-100)))
unnamed_296.add(gdstk.Reference(unnamed_287, (500,0)))
unnamed_296.add(gdstk.Reference(c_text_tl1900_w15_l2300_w_, (2000,1900)))

lib.write_gds('Unnamed_296.gds')
